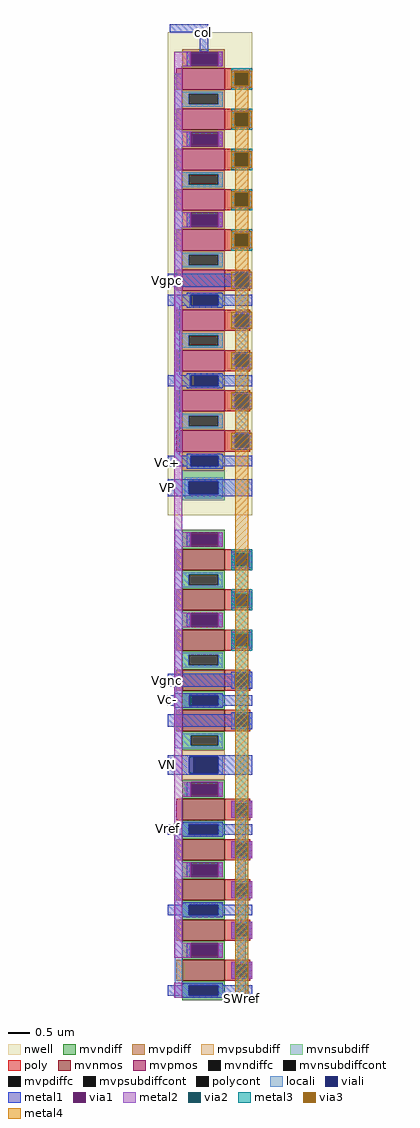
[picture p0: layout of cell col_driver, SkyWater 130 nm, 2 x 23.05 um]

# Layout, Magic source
magic
tech sky130B
<< nwell >>
rect -30 -789 170 351
<< mvnmos >>
rect 5 -919 105 -869
rect 5 -1014 105 -964
rect 5 -1109 105 -1059
rect 5 -1204 105 -1154
rect 5 -1299 105 -1249
rect 5 -1509 105 -1459
rect 5 -1604 105 -1554
rect 5 -1699 105 -1649
rect 5 -1794 105 -1744
rect 5 -1889 105 -1839
<< mvpmos >>
rect 5 216 105 266
rect 5 121 105 171
rect 5 26 105 76
rect 5 -69 105 -19
rect 5 -164 105 -114
rect 5 -259 105 -209
rect 5 -354 105 -304
rect 5 -449 105 -399
rect 5 -544 105 -494
rect 5 -639 105 -589
<< mvndiff >>
rect 5 -834 105 -824
rect 5 -859 31 -834
rect 90 -859 105 -834
rect 5 -869 105 -859
rect 5 -929 105 -919
rect 5 -954 20 -929
rect 90 -954 105 -929
rect 5 -964 105 -954
rect 5 -1024 105 -1014
rect 5 -1049 31 -1024
rect 90 -1049 105 -1024
rect 5 -1059 105 -1049
rect 5 -1119 105 -1109
rect 5 -1144 20 -1119
rect 90 -1144 105 -1119
rect 5 -1154 105 -1144
rect 5 -1214 105 -1204
rect 5 -1239 29 -1214
rect 90 -1239 105 -1214
rect 5 -1249 105 -1239
rect 5 -1309 105 -1299
rect 5 -1334 25 -1309
rect 90 -1334 105 -1309
rect 5 -1344 105 -1334
rect 5 -1424 105 -1414
rect 5 -1449 25 -1424
rect 90 -1449 105 -1424
rect 5 -1459 105 -1449
rect 5 -1519 105 -1509
rect 5 -1544 20 -1519
rect 90 -1544 105 -1519
rect 5 -1554 105 -1544
rect 5 -1614 105 -1604
rect 5 -1639 32 -1614
rect 90 -1639 105 -1614
rect 5 -1649 105 -1639
rect 5 -1709 105 -1699
rect 5 -1734 20 -1709
rect 90 -1734 105 -1709
rect 5 -1744 105 -1734
rect 5 -1804 105 -1794
rect 5 -1829 30 -1804
rect 90 -1829 105 -1804
rect 5 -1839 105 -1829
rect 5 -1899 105 -1889
rect 5 -1924 20 -1899
rect 90 -1924 105 -1899
rect 5 -1934 105 -1924
<< mvpdiff >>
rect 5 301 105 311
rect 5 276 25 301
rect 90 276 105 301
rect 5 266 105 276
rect 5 206 105 216
rect 5 181 20 206
rect 90 181 105 206
rect 5 171 105 181
rect 5 111 105 121
rect 5 86 32 111
rect 90 86 105 111
rect 5 76 105 86
rect 5 16 105 26
rect 5 -9 20 16
rect 90 -9 105 16
rect 5 -19 105 -9
rect 5 -79 105 -69
rect 5 -104 31 -79
rect 90 -104 105 -79
rect 5 -114 105 -104
rect 5 -174 105 -164
rect 5 -199 20 -174
rect 90 -199 105 -174
rect 5 -209 105 -199
rect 5 -269 105 -259
rect 5 -294 31 -269
rect 90 -294 105 -269
rect 5 -304 105 -294
rect 5 -364 105 -354
rect 5 -389 20 -364
rect 90 -389 105 -364
rect 5 -399 105 -389
rect 5 -459 105 -449
rect 5 -484 34 -459
rect 90 -484 105 -459
rect 5 -494 105 -484
rect 5 -554 105 -544
rect 5 -579 20 -554
rect 90 -579 105 -554
rect 5 -589 105 -579
rect 5 -649 105 -639
rect 5 -674 25 -649
rect 90 -674 105 -649
rect 5 -684 105 -674
<< mvndiffc >>
rect 31 -859 90 -834
rect 20 -954 90 -929
rect 31 -1049 90 -1024
rect 20 -1144 90 -1119
rect 29 -1239 90 -1214
rect 25 -1334 90 -1309
rect 25 -1449 90 -1424
rect 20 -1544 90 -1519
rect 32 -1639 90 -1614
rect 20 -1734 90 -1709
rect 30 -1829 90 -1804
rect 20 -1924 90 -1899
<< mvpdiffc >>
rect 25 276 90 301
rect 20 181 90 206
rect 32 86 90 111
rect 20 -9 90 16
rect 31 -104 90 -79
rect 20 -199 90 -174
rect 31 -294 90 -269
rect 20 -389 90 -364
rect 34 -484 90 -459
rect 20 -579 90 -554
rect 25 -674 90 -649
<< mvpsubdiff >>
rect 5 -1360 105 -1344
rect 5 -1398 32 -1360
rect 90 -1398 105 -1360
rect 5 -1414 105 -1398
<< mvnsubdiff >>
rect 5 -709 105 -684
rect 5 -739 20 -709
rect 90 -739 105 -709
rect 5 -754 105 -739
<< mvpsubdiffcont >>
rect 32 -1398 90 -1360
<< mvnsubdiffcont >>
rect 20 -739 90 -709
<< poly >>
rect -10 216 5 266
rect 105 256 165 266
rect 105 226 130 256
rect 160 226 165 256
rect 105 216 165 226
rect -10 121 5 171
rect 105 161 165 171
rect 105 131 130 161
rect 160 131 165 161
rect 105 121 165 131
rect -10 26 5 76
rect 105 66 165 76
rect 105 36 130 66
rect 160 36 165 66
rect 105 26 165 36
rect -10 -69 5 -19
rect 105 -29 165 -19
rect 105 -59 130 -29
rect 160 -59 165 -29
rect 105 -69 165 -59
rect -10 -164 5 -114
rect 105 -124 165 -114
rect 105 -154 130 -124
rect 160 -154 165 -124
rect 105 -164 165 -154
rect -10 -259 5 -209
rect 105 -219 165 -209
rect 105 -249 130 -219
rect 160 -249 165 -219
rect 105 -259 165 -249
rect -10 -354 5 -304
rect 105 -314 165 -304
rect 105 -344 130 -314
rect 160 -344 165 -314
rect 105 -354 165 -344
rect -10 -449 5 -399
rect 105 -409 165 -399
rect 105 -439 130 -409
rect 160 -439 165 -409
rect 105 -449 165 -439
rect -10 -544 5 -494
rect 105 -504 165 -494
rect 105 -534 130 -504
rect 160 -534 165 -504
rect 105 -544 165 -534
rect -10 -639 5 -589
rect 105 -599 165 -589
rect 105 -629 130 -599
rect 160 -629 165 -599
rect 105 -639 165 -629
rect -10 -919 5 -869
rect 105 -879 165 -869
rect 105 -909 130 -879
rect 160 -909 165 -879
rect 105 -919 165 -909
rect -10 -1014 5 -964
rect 105 -974 165 -964
rect 105 -1004 130 -974
rect 160 -1004 165 -974
rect 105 -1014 165 -1004
rect -10 -1109 5 -1059
rect 105 -1069 165 -1059
rect 105 -1099 130 -1069
rect 160 -1099 165 -1069
rect 105 -1109 165 -1099
rect -10 -1204 5 -1154
rect 105 -1164 165 -1154
rect 105 -1194 130 -1164
rect 160 -1194 165 -1164
rect 105 -1204 165 -1194
rect -10 -1299 5 -1249
rect 105 -1259 165 -1249
rect 105 -1289 130 -1259
rect 160 -1289 165 -1259
rect 105 -1299 165 -1289
rect -10 -1509 5 -1459
rect 105 -1469 165 -1459
rect 105 -1499 130 -1469
rect 160 -1499 165 -1469
rect 105 -1509 165 -1499
rect -10 -1604 5 -1554
rect 105 -1564 165 -1554
rect 105 -1594 130 -1564
rect 160 -1594 165 -1564
rect 105 -1604 165 -1594
rect -10 -1699 5 -1649
rect 105 -1659 165 -1649
rect 105 -1689 130 -1659
rect 160 -1689 165 -1659
rect 105 -1699 165 -1689
rect -10 -1794 5 -1744
rect 105 -1754 165 -1744
rect 105 -1784 130 -1754
rect 160 -1784 165 -1754
rect 105 -1794 165 -1784
rect -10 -1889 5 -1839
rect 105 -1849 165 -1839
rect 105 -1879 130 -1849
rect 160 -1879 165 -1849
rect 105 -1889 165 -1879
<< polycont >>
rect 130 226 160 256
rect 130 131 160 161
rect 130 36 160 66
rect 130 -59 160 -29
rect 130 -154 160 -124
rect 130 -249 160 -219
rect 130 -344 160 -314
rect 130 -439 160 -409
rect 130 -534 160 -504
rect 130 -629 160 -599
rect 130 -909 160 -879
rect 130 -1004 160 -974
rect 130 -1099 160 -1069
rect 130 -1194 160 -1164
rect 130 -1289 160 -1259
rect 130 -1499 160 -1469
rect 130 -1594 160 -1564
rect 130 -1689 160 -1659
rect 130 -1784 160 -1754
rect 130 -1879 160 -1849
<< locali >>
rect 15 301 100 306
rect 15 276 25 301
rect 90 276 100 301
rect 15 271 100 276
rect 120 256 170 261
rect -13 211 4 253
rect 120 226 130 256
rect 160 226 170 256
rect 120 221 170 226
rect -13 206 100 211
rect -13 181 20 206
rect 90 181 100 206
rect -13 176 100 181
rect -13 21 4 176
rect 120 161 170 166
rect 120 131 130 161
rect 160 131 170 161
rect 120 126 170 131
rect 21 111 100 116
rect 21 86 25 111
rect 90 86 100 111
rect 21 81 100 86
rect 120 66 170 71
rect 120 36 130 66
rect 160 36 170 66
rect 120 31 170 36
rect -13 16 100 21
rect -13 -9 20 16
rect 90 -9 100 16
rect -13 -14 100 -9
rect -13 -169 4 -14
rect 120 -29 170 -24
rect 120 -59 130 -29
rect 160 -59 170 -29
rect 120 -64 170 -59
rect 21 -79 100 -74
rect 21 -104 25 -79
rect 90 -104 100 -79
rect 21 -109 100 -104
rect 120 -124 170 -119
rect 120 -154 130 -124
rect 160 -154 170 -124
rect 120 -159 170 -154
rect -13 -174 100 -169
rect -13 -199 20 -174
rect 90 -199 100 -174
rect -13 -204 100 -199
rect -13 -359 4 -204
rect 120 -219 170 -214
rect 120 -249 130 -219
rect 160 -249 170 -219
rect 120 -254 170 -249
rect 21 -269 100 -264
rect 21 -294 25 -269
rect 90 -294 100 -269
rect 21 -299 100 -294
rect 130 -309 160 -254
rect 120 -314 170 -309
rect 120 -344 130 -314
rect 160 -344 170 -314
rect 120 -349 170 -344
rect -13 -364 100 -359
rect -13 -389 20 -364
rect 90 -389 100 -364
rect -13 -394 100 -389
rect -13 -549 4 -394
rect 130 -404 160 -349
rect 120 -409 170 -404
rect 120 -439 130 -409
rect 160 -439 170 -409
rect 120 -444 170 -439
rect 21 -459 100 -454
rect 21 -484 25 -459
rect 90 -484 100 -459
rect 21 -489 100 -484
rect 130 -499 160 -444
rect 120 -504 170 -499
rect 120 -534 130 -504
rect 160 -534 170 -504
rect 120 -539 170 -534
rect -13 -554 100 -549
rect -13 -579 20 -554
rect 90 -579 100 -554
rect -13 -584 100 -579
rect 130 -594 160 -539
rect 120 -599 170 -594
rect 120 -629 130 -599
rect 160 -629 170 -599
rect 120 -634 170 -629
rect 15 -649 100 -644
rect 15 -674 25 -649
rect 90 -674 100 -649
rect 15 -679 100 -674
rect 10 -709 100 -699
rect 10 -739 20 -709
rect 90 -739 100 -709
rect 10 -749 100 -739
rect -13 -924 4 -824
rect 21 -834 100 -829
rect 21 -859 25 -834
rect 90 -859 100 -834
rect 21 -864 100 -859
rect 120 -879 170 -874
rect 120 -909 130 -879
rect 160 -909 170 -879
rect 120 -914 170 -909
rect -13 -929 100 -924
rect -13 -954 20 -929
rect 90 -954 100 -929
rect -13 -959 100 -954
rect -13 -1114 4 -959
rect 120 -974 170 -969
rect 120 -1004 130 -974
rect 160 -1004 170 -974
rect 120 -1009 170 -1004
rect 21 -1024 100 -1019
rect 21 -1049 25 -1024
rect 90 -1049 100 -1024
rect 21 -1054 100 -1049
rect 120 -1069 170 -1064
rect 120 -1099 130 -1069
rect 160 -1099 170 -1069
rect 120 -1104 170 -1099
rect -13 -1119 100 -1114
rect -13 -1144 20 -1119
rect 90 -1144 100 -1119
rect -13 -1149 100 -1144
rect -13 -1304 4 -1149
rect 120 -1164 170 -1159
rect 120 -1194 130 -1164
rect 160 -1194 170 -1164
rect 120 -1199 170 -1194
rect 21 -1214 100 -1209
rect 90 -1239 100 -1214
rect 21 -1244 100 -1239
rect 130 -1254 160 -1199
rect 120 -1259 170 -1254
rect 120 -1289 130 -1259
rect 160 -1289 170 -1259
rect 120 -1294 170 -1289
rect -13 -1309 100 -1304
rect -13 -1334 25 -1309
rect 90 -1334 100 -1309
rect -13 -1339 100 -1334
rect 21 -1360 100 -1356
rect 90 -1398 100 -1360
rect 21 -1402 100 -1398
rect 10 -1424 100 -1419
rect 10 -1449 25 -1424
rect 90 -1449 100 -1424
rect 10 -1454 100 -1449
rect 120 -1469 170 -1464
rect 120 -1499 130 -1469
rect 160 -1499 170 -1469
rect 120 -1504 170 -1499
rect -13 -1519 100 -1514
rect -13 -1544 20 -1519
rect 90 -1544 100 -1519
rect -13 -1549 100 -1544
rect -13 -1704 4 -1549
rect 120 -1564 170 -1559
rect 120 -1594 130 -1564
rect 160 -1594 170 -1564
rect 120 -1599 170 -1594
rect 21 -1614 100 -1609
rect 21 -1639 25 -1614
rect 90 -1639 100 -1614
rect 21 -1644 100 -1639
rect 120 -1659 170 -1654
rect 120 -1689 130 -1659
rect 160 -1689 170 -1659
rect 120 -1694 170 -1689
rect -13 -1709 100 -1704
rect -13 -1734 20 -1709
rect 90 -1734 100 -1709
rect -13 -1739 100 -1734
rect -13 -1894 4 -1739
rect 120 -1754 170 -1749
rect 120 -1784 130 -1754
rect 160 -1784 170 -1754
rect 120 -1789 170 -1784
rect 21 -1804 100 -1799
rect 21 -1829 25 -1804
rect 90 -1829 100 -1804
rect 21 -1834 100 -1829
rect 120 -1849 170 -1844
rect 120 -1879 130 -1849
rect 160 -1879 170 -1849
rect 120 -1884 170 -1879
rect -13 -1899 100 -1894
rect -13 -1924 20 -1899
rect 90 -1924 100 -1899
rect -13 -1929 100 -1924
<< viali >>
rect 25 276 90 301
rect 130 226 160 256
rect 130 131 160 161
rect 25 86 32 111
rect 32 86 90 111
rect 130 36 160 66
rect 130 -59 160 -29
rect 25 -104 31 -79
rect 31 -104 90 -79
rect 130 -154 160 -124
rect 130 -249 160 -219
rect 25 -294 31 -269
rect 31 -294 90 -269
rect 130 -344 160 -314
rect 130 -439 160 -409
rect 25 -484 34 -459
rect 34 -484 90 -459
rect 130 -534 160 -504
rect 130 -629 160 -599
rect 25 -674 90 -649
rect 20 -739 90 -709
rect 25 -859 31 -834
rect 31 -859 90 -834
rect 130 -909 160 -879
rect 130 -1004 160 -974
rect 25 -1049 31 -1024
rect 31 -1049 90 -1024
rect 130 -1099 160 -1069
rect 130 -1194 160 -1164
rect 21 -1239 29 -1214
rect 29 -1239 90 -1214
rect 130 -1289 160 -1259
rect 21 -1398 32 -1360
rect 32 -1398 90 -1360
rect 25 -1449 90 -1424
rect 130 -1499 160 -1469
rect 20 -1544 90 -1519
rect 130 -1594 160 -1564
rect 25 -1639 32 -1614
rect 32 -1639 90 -1614
rect 130 -1689 160 -1659
rect 20 -1734 90 -1709
rect 130 -1784 160 -1754
rect 25 -1829 30 -1804
rect 30 -1829 90 -1804
rect 130 -1879 160 -1849
rect 20 -1924 90 -1899
<< metal1 >>
rect -25 351 66 371
rect 46 306 66 351
rect 15 271 25 306
rect 90 271 100 306
rect 120 256 170 261
rect 120 226 130 256
rect 160 226 170 256
rect 120 221 170 226
rect 120 161 170 166
rect 120 131 130 161
rect 160 131 170 161
rect 120 126 170 131
rect 15 81 25 116
rect 90 81 100 116
rect 120 66 170 71
rect 120 36 130 66
rect 160 36 170 66
rect 120 31 170 36
rect 120 -29 170 -24
rect 120 -59 130 -29
rect 160 -59 170 -29
rect 120 -64 170 -59
rect 15 -109 25 -74
rect 90 -109 100 -74
rect 120 -124 170 -119
rect 120 -154 130 -124
rect 160 -154 170 -124
rect 120 -159 170 -154
rect 120 -219 170 -214
rect -30 -249 130 -219
rect 160 -249 170 -219
rect 120 -254 170 -249
rect 15 -269 100 -264
rect -30 -294 25 -269
rect 90 -294 170 -269
rect -15 -459 0 -294
rect 15 -299 100 -294
rect 120 -314 170 -309
rect 120 -344 130 -314
rect 160 -344 170 -314
rect 120 -349 170 -344
rect 120 -409 170 -404
rect 120 -439 130 -409
rect 160 -439 170 -409
rect 120 -444 170 -439
rect 15 -459 100 -454
rect -30 -484 25 -459
rect 90 -484 170 -459
rect -15 -649 0 -484
rect 15 -489 100 -484
rect 120 -504 170 -499
rect 120 -534 130 -504
rect 160 -534 170 -504
rect 120 -539 170 -534
rect 120 -599 170 -594
rect 120 -629 130 -599
rect 160 -629 170 -599
rect 120 -634 170 -629
rect 15 -649 100 -644
rect -30 -674 25 -649
rect 90 -674 170 -649
rect 15 -679 100 -674
rect -30 -709 170 -704
rect -30 -739 20 -709
rect 90 -739 170 -709
rect -30 -744 170 -739
rect 15 -864 25 -829
rect 90 -864 100 -829
rect 120 -879 170 -874
rect 120 -909 130 -879
rect 160 -909 170 -879
rect 120 -914 170 -909
rect 120 -974 170 -969
rect 120 -1004 130 -974
rect 160 -1004 170 -974
rect 120 -1009 170 -1004
rect 15 -1054 25 -1019
rect 90 -1054 100 -1019
rect 120 -1069 170 -1064
rect 120 -1099 130 -1069
rect 160 -1099 170 -1069
rect 120 -1104 170 -1099
rect 120 -1164 170 -1159
rect -30 -1194 130 -1164
rect 160 -1194 170 -1164
rect 120 -1199 170 -1194
rect -15 -1214 100 -1209
rect -30 -1239 21 -1214
rect 90 -1239 170 -1214
rect -15 -1244 100 -1239
rect 120 -1259 170 -1254
rect -30 -1289 130 -1259
rect 160 -1289 170 -1259
rect 120 -1294 170 -1289
rect -30 -1360 170 -1356
rect -30 -1398 21 -1360
rect 90 -1398 170 -1360
rect -30 -1402 170 -1398
rect 15 -1454 25 -1419
rect 90 -1454 100 -1419
rect 120 -1469 170 -1464
rect 120 -1499 130 -1469
rect 160 -1499 170 -1469
rect 120 -1504 170 -1499
rect 6 -1519 100 -1513
rect -30 -1544 20 -1519
rect 90 -1544 170 -1519
rect 6 -1549 100 -1544
rect 120 -1564 170 -1559
rect 120 -1594 130 -1564
rect 160 -1594 170 -1564
rect 120 -1599 170 -1594
rect 15 -1644 25 -1609
rect 90 -1644 100 -1609
rect 120 -1659 170 -1654
rect 120 -1689 130 -1659
rect 160 -1689 170 -1659
rect 120 -1694 170 -1689
rect 6 -1709 100 -1703
rect -30 -1734 20 -1709
rect 90 -1734 170 -1709
rect 6 -1739 100 -1734
rect 120 -1754 170 -1749
rect 120 -1784 130 -1754
rect 160 -1784 170 -1754
rect 120 -1789 170 -1784
rect 15 -1834 25 -1799
rect 90 -1834 100 -1799
rect 120 -1849 170 -1844
rect 120 -1879 130 -1849
rect 160 -1879 170 -1849
rect 120 -1884 170 -1879
rect 6 -1899 100 -1893
rect -30 -1924 20 -1899
rect 90 -1924 170 -1899
rect 6 -1929 100 -1924
<< via1 >>
rect 25 301 90 306
rect 25 276 90 301
rect 25 271 90 276
rect 130 226 160 256
rect 130 131 160 161
rect 25 111 90 116
rect 25 86 90 111
rect 25 81 90 86
rect 130 36 160 66
rect 130 -59 160 -29
rect 25 -79 90 -74
rect 25 -104 90 -79
rect 25 -109 90 -104
rect 130 -154 160 -124
rect 25 -834 90 -829
rect 25 -859 90 -834
rect 25 -864 90 -859
rect 130 -909 160 -879
rect 130 -1004 160 -974
rect 25 -1024 90 -1019
rect 25 -1049 90 -1024
rect 25 -1054 90 -1049
rect 130 -1099 160 -1069
rect 25 -1424 90 -1419
rect 25 -1449 90 -1424
rect 25 -1454 90 -1449
rect 130 -1499 160 -1469
rect 130 -1594 160 -1564
rect 25 -1614 90 -1609
rect 25 -1639 90 -1614
rect 25 -1644 90 -1639
rect 130 -1689 160 -1659
rect 130 -1784 160 -1754
rect 25 -1804 90 -1799
rect 25 -1829 90 -1804
rect 25 -1834 90 -1829
rect 130 -1879 160 -1849
<< metal2 >>
rect -15 271 25 306
rect 90 271 100 306
rect -15 116 5 271
rect 120 256 170 261
rect 120 226 130 256
rect 160 226 170 256
rect 120 221 170 226
rect 120 161 170 166
rect 120 131 130 161
rect 160 131 170 161
rect 120 126 170 131
rect -15 81 25 116
rect 90 81 100 116
rect -15 -74 5 81
rect 120 66 170 71
rect 120 36 130 66
rect 160 36 170 66
rect 120 31 170 36
rect 120 -29 170 -24
rect 120 -59 130 -29
rect 160 -59 170 -29
rect 120 -64 170 -59
rect -15 -109 25 -74
rect 90 -109 100 -74
rect -15 -829 5 -109
rect 120 -124 170 -119
rect 120 -154 130 -124
rect 160 -154 170 -124
rect 120 -159 170 -154
rect -15 -864 25 -829
rect 90 -864 100 -829
rect -15 -1019 5 -864
rect 120 -879 170 -874
rect 120 -909 130 -879
rect 160 -909 170 -879
rect 120 -914 170 -909
rect 120 -974 170 -969
rect 120 -1004 130 -974
rect 160 -1004 170 -974
rect 120 -1009 170 -1004
rect -15 -1054 25 -1019
rect 90 -1054 100 -1019
rect -15 -1419 5 -1054
rect 120 -1069 170 -1064
rect 120 -1099 130 -1069
rect 160 -1099 170 -1069
rect 120 -1104 170 -1099
rect -15 -1454 25 -1419
rect 90 -1454 100 -1419
rect -15 -1609 5 -1454
rect 120 -1469 170 -1464
rect 120 -1499 130 -1469
rect 160 -1499 170 -1469
rect 120 -1504 170 -1499
rect 135 -1559 155 -1504
rect 120 -1564 170 -1559
rect 120 -1594 130 -1564
rect 160 -1594 170 -1564
rect 120 -1599 170 -1594
rect -15 -1644 25 -1609
rect 90 -1644 100 -1609
rect -15 -1799 5 -1644
rect 135 -1654 155 -1599
rect 120 -1659 170 -1654
rect 120 -1689 130 -1659
rect 160 -1689 170 -1659
rect 120 -1694 170 -1689
rect 135 -1749 155 -1694
rect 120 -1754 170 -1749
rect 120 -1784 130 -1754
rect 160 -1784 170 -1754
rect 120 -1789 170 -1784
rect -15 -1834 25 -1799
rect 90 -1834 100 -1799
rect 135 -1844 155 -1789
rect 120 -1849 170 -1844
rect 120 -1879 130 -1849
rect 160 -1879 170 -1849
rect 120 -1884 170 -1879
rect -15 -1929 5 -1893
rect 135 -1934 155 -1884
<< via2 >>
rect 130 226 160 256
rect 130 131 160 161
rect 130 36 160 66
rect 130 -59 160 -29
rect 130 -154 160 -124
rect 130 -909 160 -879
rect 130 -1004 160 -974
rect 130 -1099 160 -1069
<< metal3 >>
rect 120 257 170 266
rect 120 225 129 257
rect 161 225 170 257
rect 120 216 170 225
rect 120 162 170 171
rect 120 130 129 162
rect 161 130 170 162
rect 120 121 170 130
rect 120 67 170 76
rect 120 35 129 67
rect 161 35 170 67
rect 120 26 170 35
rect 120 -28 170 -19
rect 120 -60 129 -28
rect 161 -60 170 -28
rect 120 -69 170 -60
rect 120 -123 170 -114
rect 120 -155 129 -123
rect 161 -155 170 -123
rect 120 -164 170 -155
rect 120 -879 170 -869
rect 120 -909 130 -879
rect 160 -909 170 -879
rect 120 -919 170 -909
rect 130 -964 160 -919
rect 120 -974 170 -964
rect 120 -1004 130 -974
rect 160 -1004 170 -974
rect 120 -1014 170 -1004
rect 130 -1059 160 -1014
rect 120 -1069 170 -1059
rect 120 -1099 130 -1069
rect 160 -1099 170 -1069
rect 120 -1109 170 -1099
rect 130 -1934 160 -1109
<< via3 >>
rect 129 256 161 257
rect 129 226 130 256
rect 130 226 160 256
rect 160 226 161 256
rect 129 225 161 226
rect 129 161 161 162
rect 129 131 130 161
rect 130 131 160 161
rect 160 131 161 161
rect 129 130 161 131
rect 129 66 161 67
rect 129 36 130 66
rect 130 36 160 66
rect 160 36 161 66
rect 129 35 161 36
rect 129 -29 161 -28
rect 129 -59 130 -29
rect 130 -59 160 -29
rect 160 -59 161 -29
rect 129 -60 161 -59
rect 129 -124 161 -123
rect 129 -154 130 -124
rect 130 -154 160 -124
rect 160 -154 161 -124
rect 129 -155 161 -154
<< metal4 >>
rect 120 257 170 261
rect 120 225 129 257
rect 161 225 170 257
rect 120 221 170 225
rect 130 166 160 221
rect 120 162 170 166
rect 120 130 129 162
rect 161 130 170 162
rect 120 126 170 130
rect 130 71 160 126
rect 120 67 170 71
rect 120 35 129 67
rect 161 35 170 67
rect 120 31 170 35
rect 130 -24 160 31
rect 120 -28 170 -24
rect 120 -60 129 -28
rect 161 -60 170 -28
rect 120 -64 170 -60
rect 130 -119 160 -64
rect 120 -123 170 -119
rect 120 -155 129 -123
rect 161 -155 170 -123
rect 120 -159 170 -155
rect 130 -214 160 -159
rect 120 -254 170 -214
rect 130 -309 160 -254
rect 120 -349 170 -309
rect 130 -404 160 -349
rect 120 -444 170 -404
rect 130 -499 160 -444
rect 120 -539 170 -499
rect 130 -594 160 -539
rect 120 -634 170 -594
rect 130 -1934 160 -634
<< labels >>
rlabel metal1 -30 -724 -30 -724 7 VP
rlabel metal1 -30 -1379 -30 -1379 7 VN
rlabel metal1 54 351 54 351 1 col
rlabel metal1 -30 -234 -30 -234 3 Vgpc
rlabel metal1 -30 -664 -30 -664 3 Vc+
rlabel metal1 -30 -1224 -30 -1224 3 Vc-
rlabel metal1 -30 -1179 -30 -1179 3 Vgnc
rlabel metal1 -30 -1530 -30 -1530 3 Vref
rlabel metal3 145 -1930 145 -1930 1 SWref
rlabel metal2 150 -1930 150 -1930 1 SWc-
rlabel metal4 138 -1930 138 -1930 1 SWc+
<< end >>
